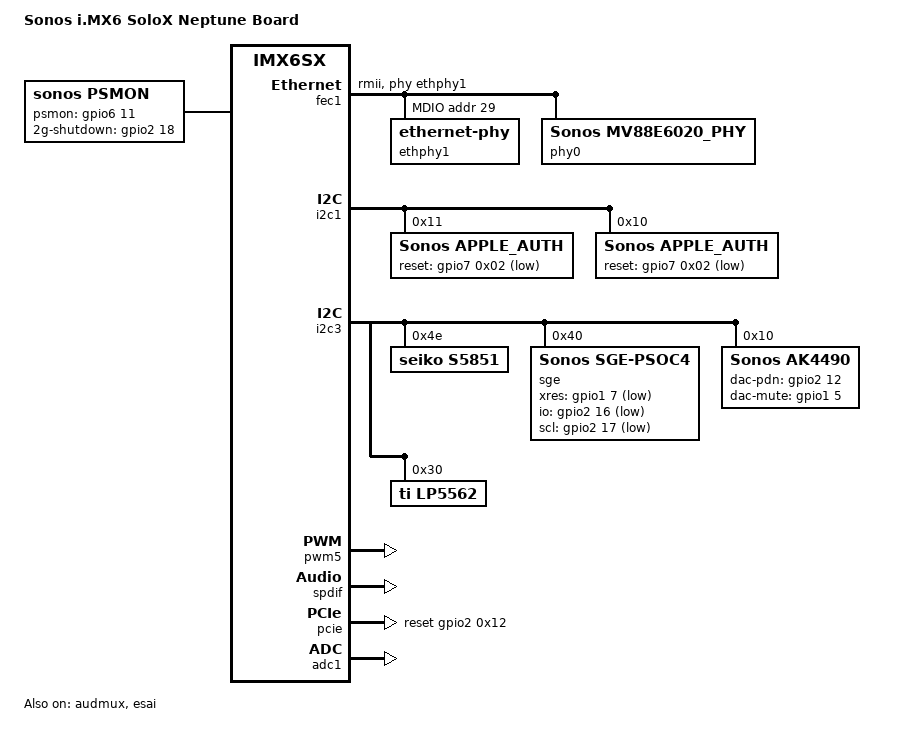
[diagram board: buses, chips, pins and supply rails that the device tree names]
/*
 * Copyright (c) 2019, Sonos, Inc.
 *
 * SPDX-License-Identifier:     GPL-2.0
 */
#include "sonos_imx6sx_common.dtsi"

/ {
	model = "Sonos i.MX6 SoloX Neptune Board";

	sonos-platform {
		/* Sonos platform specific values for shared driver source & binaries */
		sonos-ampctl {
			/* Neptune has no amp fault.  It has one control line.
			 */
			status = "okay";
			hw-inits-index = <3>;
			hw-exits-index = <3>;
			ampctl-amp-auto-power = <1>;
			amprail-adc-port = <1>;
			amprail-adc-scale = <8905>;

			sonos-ampfaults {
			num-faults = <0x0>;
			status = "okay";
			} ;
		} ;

		misc-gpio {
			connect-button  = <&gpio7 3 0>;
			linein-detect = <&gpio7 4 0>;
			avtrigger-enable = <&gpio1 9 0>;
			avtrigger-detect = <&gpio1 10 0>;
			lineout-detect = <&gpio1 3 0>;
			spdif_out-detect = <&gpio1 6 0>;
		};

		simulated-buttons {
			/* event-sources are offsets from EVTSOURCE_BUTTON_PLAYPAUSE,
			   some generate an event for more than one source */
			join {
				event-sources = <3>;
			};
		};
		/* fault/warn events are not supported on neptune so temperatures set extremely high
		   to prevent generation of those events */
		thermal-mgmt {
			CPU {
				compatible = "seiko,s5851";
				fault-temperature = <2007>;
				warn-temperature = <2004>;
			};
		};
	};

	psmon {
		compatible = "sonos,psmon";
		psmon-gpio = <&gpio6 11 0>;
		trigger-edge = <IRQ_TYPE_EDGE_RISING>;
		2g-shutdown-gpio = <&gpio2 18 0>;
	};
};

&fec1 {
	status = "okay";
	pinctrl-0 = <&pinctrl_enet1_rmii>;
	phy-mode = "rmii";
	phy-handle = <&ethphy1>;
	mdio {
		ethphy1: ethernet-phy@1 {
			reg = <0x1d>;
		};
	};
	phy0 {
		compatible = "Sonos,mv88e6020_phy";
		interrupts = <&gpio2 9 1>;
	};
};

&fec2 {
	status = "disabled";
};

&i2c1 {
	apple_auth@0 {
		compatible = "Sonos,apple_auth";
		reg = <0x11>;
		reset-gpio = <&gpio7 0x02 0x01>;
	};

	apple_auth@1 {
		compatible = "Sonos,apple_auth";
		reg = <0x10>;
		reset-gpio = <&gpio7 0x02 0x01>;
	};
};

&i2c3 {
        s5851@0 {	// CPU thermal sensor
                compatible = "seiko,s5851";
                reg = <0x4e>;
                device_type = "CPU";
        };

	sge@0 {  // Sigdetail Gesture Engine
		compatible = "Sonos,sge-psoc4";
		pinctrl-names = "mode-flow-ctrl", "mode-uart-hiz";
		pinctrl-0 = <>;
		pinctrl-1 = <>;
		reg = <0x40>;
		iomuxc-ofs = <0x20e0000 0x1000 0x270 0x274 0x5b8 0x5bc 0x83c>;
		iomuxc-params = "base-addr", "len", "mux-s3d6", "mux-s3d7", "ctl-s3d6", "ctl-s3d7", "uart3-rts-sel";
                xres-gpio = <&gpio1  7 1>;
		io-gpio   = <&gpio2 16 1>;
		scl-gpio  = <&gpio2 17 1>;
		share-swd-uart = <0>;

		psoc-images {
			image@0 {
				model-num = <4147>;
				ident = <0xed>;
				flash-rows = <1024>;
				flash-row-size = <128>;
				flash-protection-size = <128>;
			};
		};
	};

        ak4490@0 { // DAC
                compatible = "Sonos,ak4490";
                dac-pdn = <&gpio2 12 0>;
                dac-mute = <&gpio1 5 0>;
                reg = <0x10>;
        };

	lp5562@0 {      // LED controller
		compatible = "ti,lp5562";
		reg = <0x30>;
	};
};

&audmux{
	status = "okay";
};

&pwm5{
        status = "okay";
};

&epit1 {
	compatible = "fsl,imx6sx-epit";
	clocks = <&clks IMX6SX_CLK_EPIT1>,
	<&clks IMX6SX_CLK_DUMMY>,
	<&clks IMX6SX_CLK_PERCLK>,
	<&clks IMX6SX_CLK_CKIH>,
	<&clks IMX6SX_CLK_CKIL>;
	clock-names = "epit", "off", "per", "high", "low";
	dev-id = <0>;
	// This EPIT device serves as the LLA audio clock
	lla-clock;
};
&spdif {
	clock-names = "core", "rxtx0",
			"rxtx1", "rxtx2",
			"rxtx3", "rxtx4",
			"rxtx5", "rxtx6",
			"rxtx7", "dma", "ipg";
	status = "okay";

	lla-spdif-tx {
		lla-type = <3>;
		lla-sync-to-dev = <0>; /* ESAI lla-dac */
		frames-per-second = <44100>; /* Note: Must be the same as ESAI lla-dac */
		channel-status = [00 00 00 00 D0 00];
		channel-len = <4>;
		channel-mask = <0x3>;
		channels-per-frame = <2>;
		frames-per-buffer = <128>;
		buffer-cnt = <64>;
		watermark-frames = <8>;
		clk-div = <4>;
		status = "okay";
	};
};

&esai {
	compatible = "fsl,imx6q-esai";
	clocks = <&clks IMX6SX_CLK_ESAI_IPG>,
		<&clks IMX6SX_CLK_ESAI_EXTAL>,
		<&clks IMX6SX_CLK_SPBA>;
	clock-names = "core", "extal", "dma";
	dmas = <&sdma 24 21 0>, <&sdma 23 21 0>;
	dma-names = "tx", "rx";
	status = "okay";
        lla-line-in {
		lla-type = <4>;
		frames-per-second = <44100>;
		channel-len = <4>;
		channel-mask = <0x3>;
		channels-per-frame = <2>;
		frames-per-buffer = <128>;
		buffer-cnt = <64>;
		dividers = <3 1 0>;
		watermark-frames = <8>;
		active-lane-mask = <0x2>;
		invert-fs;
		i2s-mode;
		status = "okay";
	};
	lla-dac {
		lla-type = <0>;
		frames-per-second = <44100>;
		channel-len = <4>;
		channel-mask = <0x3>;
		channels-per-frame = <2>;
		frames-per-buffer = <128>;
		buffer-cnt = <64>;
		dividers = <3 0 0>;
		watermark-frames = <8>;
                right-align; /* Required for SPDIF TX linking */
		tdm-master; /* Required for SPDIF TX linking */
		sync-tx-rx;
		status = "okay";
	};
};

&pcie{
	clock-names = "pcie_phy", "pcie_bus", "pcie", "pcie_inbound_axi";
	reset-gpio = <&gpio2 0x12 0x0>;
	fsl,tx-deemph-gen1 = <21>;
	fsl,tx-deemph-gen2-3p5db = <21>;
	fsl,tx-deemph-gen2-6db = <32>;
	fsl,tx-swing-full = <115>;
	fsl,tx-swing-low = <115>;
	status = "okay";
};

&adc1 {
	status = "okay";
};
